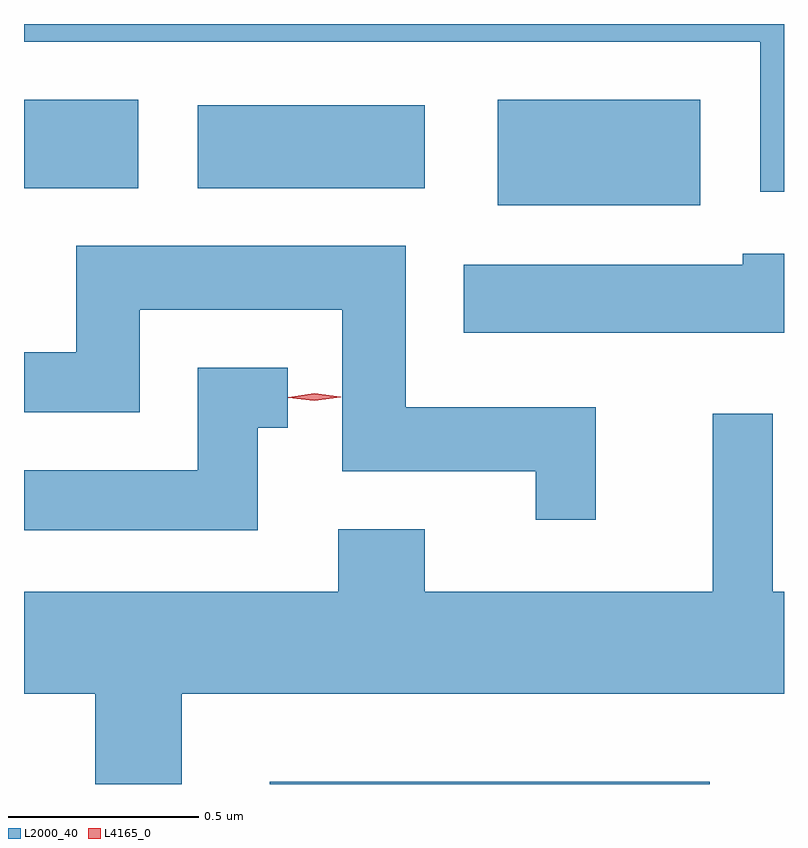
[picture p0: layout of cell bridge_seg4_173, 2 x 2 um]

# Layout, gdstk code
import gdstk
lib = gdstk.Library(unit=1e-6, precision=1e-09)
def R(c, l, rs):  # rectangles x0, y0, x1, y1
    for r in rs: c.add(gdstk.rectangle(r[:2], r[2:], *l))
def P(c, l, *ps):  # polygons
    for p in ps: c.add(gdstk.Polygon(p, *l))
L2000_40 = (2000, 40)
L4165_0 = (4165, 0)

bridge_seg4_173 = lib.new_cell('bridge_seg4_173')
R(bridge_seg4_173, L2000_40, [(917.021,1270.078,918.178,1270.084), (917.621,1271.601,918.154,1271.879), (916.374,1271.646,916.674,1271.879), (916.831,1271.646,917.429,1271.864)])
P(bridge_seg4_173, L2000_40, [(918.374,1272.078),(916.374,1272.078),(916.374,1272.031),(918.311,1272.031),(918.311,1271.636),(918.374,1271.636)],
  [(917.879,1271.069),(917.379,1271.069),(917.379,1271.494),(916.511,1271.494),(916.511,1271.214),(916.374,1271.214),(916.374,1271.056),(916.679,1271.056),(916.679,1271.326),(917.211,1271.326),(917.211,1270.901),(917.721,1270.901),(917.721,1270.773),(917.879,1270.773)],
  [(918.374,1271.474),(918.266,1271.474),(918.266,1271.444),(917.531,1271.444),(917.531,1271.266),(918.374,1271.266)],
  [(916.989,1271.016),(917.068,1271.016),(917.068,1271.174),(916.831,1271.174),(916.831,1270.904),(916.374,1270.904),(916.374,1270.746),(916.989,1270.746)],
  [(916.789,1270.316),(918.374,1270.316),(918.374,1270.584),(918.344,1270.584),(918.344,1271.053),(918.186,1271.053),(918.186,1270.584),(917.429,1270.584),(917.429,1270.749),(917.201,1270.749),(917.201,1270.584),(916.374,1270.584),(916.374,1270.316),(916.561,1270.316),(916.561,1270.078),(916.789,1270.078)])
P(bridge_seg4_173, L4165_0, [(917.138,1271.086),(917.069,1271.095),(917.069,1271.096),(917.069,1271.096),(917.138,1271.106),(917.208,1271.097),(917.208,1271.096),(917.208,1271.096)])

lib.write_gds('bridge_seg4_173.gds')
